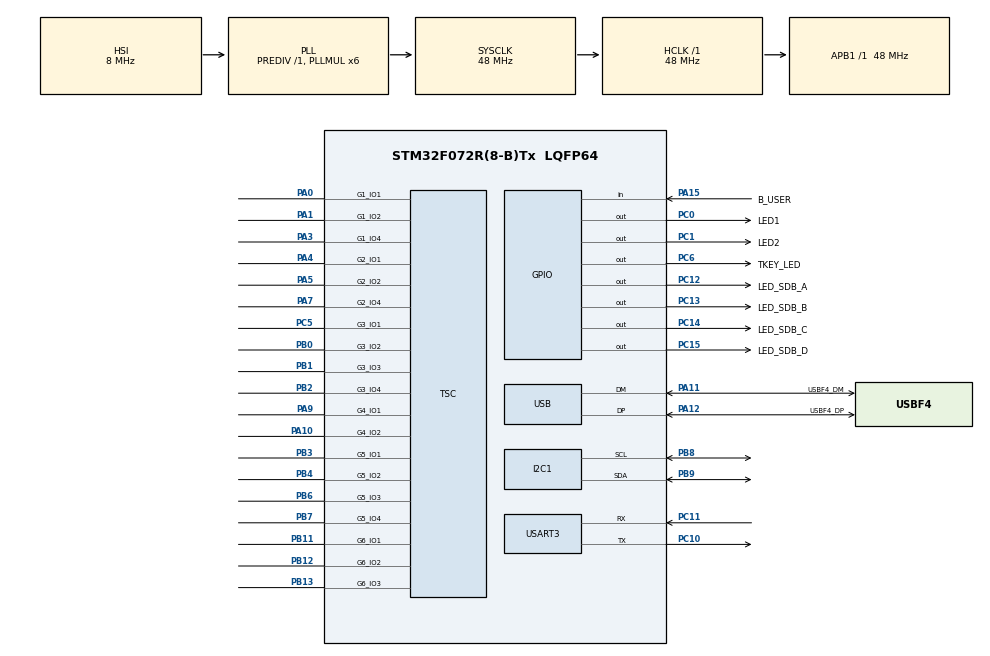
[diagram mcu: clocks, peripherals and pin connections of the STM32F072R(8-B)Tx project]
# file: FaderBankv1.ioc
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Mcu.Family=STM32F0
Mcu.Name=STM32F072R(8-B)Tx
Mcu.Package=LQFP64
NVIC.USB_IRQn=true\:0\:0\:false\:false\:true\:false\:true\:true
PA0.Mode=G1_IO1-Channel
PA0.Signal=TSC_G1_IO1
PA1.Mode=G1_IO2-Channel
PA1.Signal=TSC_G1_IO2
PA10.Mode=G4_IO2-Channel
PA10.Signal=TSC_G4_IO2
PA11.GPIO_Label=USBF4_DM
PA11.Mode=Device
PA11.Signal=USB_DM
PA12.GPIO_Label=USBF4_DP
PA12.Mode=Device
PA12.Signal=USB_DP
PA13.GPIO_Label=SWDIO
PA13.Mode=Serial_Wire
PA13.Signal=SYS_SWDIO
PA14.GPIO_Label=SWCLK
PA14.Mode=Serial_Wire
PA14.Signal=SYS_SWCLK
PA15.GPIO_Label=B_USER
PA15.GPIO_PuPd=GPIO_PULLDOWN
PA15.Signal=GPIO_Input
PA3.Mode=G1_IO4-Sampling
PA3.Signal=TSC_G1_IO4
PA4.Mode=G2_IO1-Channel
PA4.Signal=TSC_G2_IO1
PA5.Mode=G2_IO2-Channel
PA5.Signal=TSC_G2_IO2
PA7.Mode=G2_IO4-Sampling
PA7.Signal=TSC_G2_IO4
PA9.Mode=G4_IO1-Sampling
PA9.Signal=TSC_G4_IO1
PB0.Mode=G3_IO2-Channel
PB0.Signal=TSC_G3_IO2
PB1.Mode=G3_IO3-Channel
PB1.Signal=TSC_G3_IO3
PB11.Mode=G6_IO1-Sampling
PB11.Signal=TSC_G6_IO1
PB12.Mode=G6_IO2-Channel
PB12.Signal=TSC_G6_IO2
PB13.Mode=G6_IO3-Channel
PB13.Signal=TSC_G6_IO3
PB2.Mode=G3_IO4-Sampling
PB2.Signal=TSC_G3_IO4
PB3.Mode=G5_IO1-Sampling
PB3.Signal=TSC_G5_IO1
PB4.Mode=G5_IO2-Channel
PB4.Signal=TSC_G5_IO2
PB6.Mode=G5_IO3-Channel
PB6.Signal=TSC_G5_IO3
PB7.Mode=G5_IO4-Channel
PB7.Signal=TSC_G5_IO4
PB8.Mode=I2C
PB8.Signal=I2C1_SCL
PB9.Mode=I2C
PB9.Signal=I2C1_SDA
PC0.GPIO_Label=LED1
PC0.Signal=GPIO_Output
PC1.GPIO_Label=LED2
PC1.Signal=GPIO_Output
PC10.Mode=Asynchronous
PC10.Signal=USART3_TX
PC11.Mode=Asynchronous
PC11.Signal=USART3_RX
PC12.GPIO_Label=LED_SDB_A
PC12.PinState=GPIO_PIN_SET
PC12.Signal=GPIO_Output
PC13.GPIO_Label=LED_SDB_B
PC13.PinState=GPIO_PIN_SET
PC13.Signal=GPIO_Output
PC14-OSC32_IN.GPIO_Label=LED_SDB_C
PC14-OSC32_IN.PinState=GPIO_PIN_SET
PC14-OSC32_IN.Signal=GPIO_Output
PC15-OSC32_OUT.GPIO_Label=LED_SDB_D
PC15-OSC32_OUT.PinState=GPIO_PIN_SET
PC15-OSC32_OUT.Signal=GPIO_Output
PC5.Mode=G3_IO1-Channel
PC5.Signal=TSC_G3_IO1
PC6.GPIO_Label=TKEY_LED
PC6.Signal=GPIO_Output
ProjectManager.HeapSize=0x200
ProjectManager.StackSize=0x400
ProjectManager.TargetToolchain=MDK-ARM V5
RCC.AHBFreq_Value=48000000
RCC.APB1Freq_Value=48000000
RCC.APB1TimFreq_Value=48000000
RCC.HCLKFreq_Value=48000000
RCC.PLLMUL=RCC_PLL_MUL6
RCC.SYSCLKFreq_VALUE=48000000
RCC.SYSCLKSource=RCC_SYSCLKSOURCE_PLLCLK
TOUCHSENSING.IO_3CH_LIN_H_NBR1_CH1=G1_IO1
TOUCHSENSING.IO_3CH_LIN_H_NBR1_CH1-TouchSensing_Enabled=G1_IO1
TOUCHSENSING.IO_3CH_LIN_H_NBR1_CH2=G2_IO1
TOUCHSENSING.IO_3CH_LIN_H_NBR1_CH3=G3_IO1
TOUCHSENSING.IO_3CH_LIN_H_NBR2_CH1=G1_IO2
TOUCHSENSING.IO_3CH_LIN_H_NBR2_CH2=G2_IO2
TOUCHSENSING.IO_3CH_LIN_H_NBR2_CH3=G3_IO2
TOUCHSENSING.IO_3CH_LIN_H_NBR3_CH1=G4_IO2
TOUCHSENSING.IO_3CH_LIN_H_NBR3_CH2=G5_IO2
TOUCHSENSING.IO_3CH_LIN_H_NBR3_CH3=G6_IO2
TOUCHSENSING.IO_3CH_LIN_H_NBR4_CH1=G3_IO3
TOUCHSENSING.IO_3CH_LIN_H_NBR4_CH2=G5_IO3
TOUCHSENSING.IO_3CH_LIN_H_NBR4_CH3=G6_IO3
TOUCHSENSING.IO_TOUCHKEY1=G5_IO4
TOUCHSENSING.IO_TOUCHKEY1-TouchSensing_Enabled=G6_IO3
TOUCHSENSING.TSLPRM_SENSORS_DATAS=TSLPRM_USE_3CH_LIN_H_NBR1 1 3 TSLPRM_USE_3CH_LIN_H_NBR2 1 3 TSLPRM_USE_3CH_LIN_H_NBR3 1 3 TSLPRM_USE_3CH_LIN_H_NBR4 1 3 TSLPRM_TOTAL_TOUCHKEYS 1 1 
TOUCHSENSING.TSLPRM_TOTAL_TOUCHKEYS=1
TOUCHSENSING.TSLPRM_USE_3CH_LIN_H=1
TOUCHSENSING.TSLPRM_USE_3CH_LIN_H_NBR=4
TSC.ChannelIOs-G1_IO1=TSC_GROUP1_IO1
TSC.ChannelIOs-G1_IO2=TSC_GROUP1_IO2
TSC.ChannelIOs-G2_IO1=TSC_GROUP2_IO1
TSC.ChannelIOs-G2_IO2=TSC_GROUP2_IO2
TSC.ChannelIOs-G3_IO1=TSC_GROUP3_IO1
TSC.ChannelIOs-G3_IO2=TSC_GROUP3_IO2
TSC.ChannelIOs-G3_IO3=TSC_GROUP3_IO3
TSC.ChannelIOs-G4_IO2=TSC_GROUP4_IO2
TSC.ChannelIOs-G5_IO2=TSC_GROUP5_IO2
TSC.ChannelIOs-G5_IO3=TSC_GROUP5_IO3
TSC.ChannelIOs-G5_IO4=TSC_GROUP5_IO4
TSC.ChannelIOs-G6_IO2=TSC_GROUP6_IO2
TSC.ChannelIOs-G6_IO3=TSC_GROUP6_IO3
TSC.SamplingIOs-G1_IO4=TSC_GROUP1_IO4
TSC.SamplingIOs-G2_IO4=TSC_GROUP2_IO4
TSC.SamplingIOs-G3_IO4=TSC_GROUP3_IO4
TSC.SamplingIOs-G4_IO1=TSC_GROUP4_IO1
TSC.SamplingIOs-G5_IO1=TSC_GROUP5_IO1
TSC.SamplingIOs-G6_IO1=TSC_GROUP6_IO1
USART3.VirtualMode-Asynchronous=VM_ASYNC
USB.phy_itface=PCD_PHY_EMBEDDED
USB.speed=PCD_SPEED_FULL
USB_DEVICE.CLASS_NAME_FS=AUDIO
USB_DEVICE.MANUFACTURER_STRING=Alef Audio
USB_DEVICE.PID_AUDIO_FS=0xFFFF
USB_DEVICE.PRODUCT_STRING_AUDIO_FS=Fader Bank
USB_DEVICE.VID=0xFFFF
USB_DEVICE.VirtualMode=Audio
USB_DEVICE.VirtualModeFS=Audio_FS
VP_TOUCHSENSING_VS_TOUCHSENSING.Mode=TouchSensing_Enabled
VP_USB_DEVICE_VS_USB_DEVICE_AUDIO_FS.Mode=AUDIO_FS
board=STM32F072B-DISCO

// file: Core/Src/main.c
/* USER CODE BEGIN Header */
/**
  ******************************************************************************
  * @file           : main.c
  * @brief          : Main program body
  ******************************************************************************
  * @attention
  *
  * Copyright (c) 2022 STMicroelectronics.
  * All rights reserved.
  *
  * This software is licensed under terms that can be found in the LICENSE file
  * in the root directory of this software component.
  * If no LICENSE file comes with this software, it is provided AS-IS.
  *
  ******************************************************************************
  */
/* USER CODE END Header */
#include "main.h"
#include "touchsensing.h"
#include "usb_device.h"

/* USER CODE BEGIN Includes */
#include <stdio.h>
#include "fader_bank.h"
#include "usbd_midi_if.h"
/* USER CODE END Includes */

/* USER CODE BEGIN PD */
#define SBUF_SIZE (128)
#define I2CBUF_SIZE (256)
#define DETAILED_TSC_DATA (1)

#define SERIAL_HANDLE (&huart3)

/* USER CODE END PD */

/* USER CODE BEGIN PM */
#define LINEAR_DETECT(chan) ((MyLinRots[chan].p_Data->StateId == TSL_STATEID_DETECT) || \
                       (MyLinRots[chan].p_Data->StateId == TSL_STATEID_DEB_RELEASE_DETECT))
#define LINEAR_POSITION(chan) (MyLinRots[chan].p_Data->Position)

#define LINEAR_DIRECTION(chan) (MyLinRots[chan].p_Data->Direction)

#define LINEAR_CHANGE(chan) (MyLinRots[chan].p_Data->Change)

#define KEY_DETECT(chan) ((MyTKeys[chan].p_Data->StateId == TSL_STATEID_DETECT) || \
                       (MyTKeys[chan].p_Data->StateId == TSL_STATEID_DEB_RELEASE_DETECT))

#define KEY_CHANGE(chan) ((MyTKeys[chan].p_Data->Change))

/* USER CODE END PM */

 I2C_HandleTypeDef hi2c1;

TSC_HandleTypeDef htsc;

UART_HandleTypeDef huart3;

/* USER CODE BEGIN PV */
char sbuf[SBUF_SIZE];
uint8_t pos;
int size;
extern uint8_t midi_control_pending;
extern MIDI_Control_T last_midi_control;

#ifdef RELATIVE_FADER_MOVEMENT
uint8_t set_initial_fader_position[] = {0, 0, 0, 0};
#endif

//uint8_t i2cbuf[I2CBUF_SIZE];
/* USER CODE END PV */

void SystemClock_Config(void);
static void MX_GPIO_Init(void);
static void MX_I2C1_Init(void);
static void MX_TSC_Init(void);
static void MX_USART3_UART_Init(void);
/* USER CODE BEGIN PFP */

static void PrintLinRotDetails(int chan);
/* USER CODE END PFP */

/* USER CODE BEGIN 0 */
static void PrintLinRotDetails(int chan) {
		size = sprintf(sbuf, "slider %d: %d\r\n", chan, MyLinRots[chan].p_Data->Position);
		HAL_UART_Transmit(SERIAL_HANDLE, (uint8_t *)sbuf, size, 5000);
		size = sprintf(sbuf, "\tdelta 1: %d\r\n", MyLinRots[chan].p_ChD[0].Delta);
		HAL_UART_Transmit(SERIAL_HANDLE, (uint8_t *)sbuf, size, 5000);
		size = sprintf(sbuf, "\tdelta 2: %d\r\n", MyLinRots[chan].p_ChD[1].Delta);
		HAL_UART_Transmit(SERIAL_HANDLE, (uint8_t *)sbuf, size, 5000);
		size = sprintf(sbuf, "\tdelta 3: %d\r\n", MyLinRots[chan].p_ChD[2].Delta);
		HAL_UART_Transmit(SERIAL_HANDLE, (uint8_t *)sbuf, size, 5000);
}

/* USER CODE END 0 */

int main(void)
{
  /* USER CODE BEGIN 1 */
  tsl_user_status_t tsl_status;

  /* USER CODE END 1 */

  /* MCU Configuration--------------------------------------------------------*/

  /* Reset of all peripherals, Initializes the Flash interface and the Systick. */
  HAL_Init();

  /* Configure the system clock */
  SystemClock_Config();

  /* Initialize all configured peripherals */
  MX_GPIO_Init();
  MX_I2C1_Init();
  MX_TSC_Init();
  MX_USART3_UART_Init();
  MX_TOUCHSENSING_Init();
  MX_USB_DEVICE_Init();
  /* USER CODE BEGIN 2 */

	size = sprintf(sbuf, "Hello World!\r\n");
	HAL_UART_Transmit(&huart3, (uint8_t *)sbuf, size, 5000);
//	InitLedDrivers();
	InitFaderBank(&hi2c1);

	// Wait for USB to connect
	HAL_Delay(1000);
  /* USER CODE END 2 */

  /* Infinite loop */
  /* USER CODE BEGIN WHILE */

	uint8_t tkey_status = 0;
	HAL_GPIO_WritePin(GPIOC, TKEY_LED_Pin, GPIO_PIN_RESET);

  while (1)
  {
		if (midi_control_pending) {
			SetFaderTrack(last_midi_control.controller_number, last_midi_control.controller_value);
			midi_control_pending = 0;
		}

		tsl_status = tsl_user_Exec();
		if (tsl_status != TSL_USER_STATUS_BUSY)
		{
			for (int chan = 0; chan < TSLPRM_TOTAL_LINROTS; chan++) {
				if (LINEAR_DETECT(chan)) {
					HAL_GPIO_WritePin(GPIOC, LED2_Pin, GPIO_PIN_SET);
					pos = LINEAR_POSITION(chan);

#ifdef RELATIVE_FADER_MOVEMENT
					if (set_initial_fader_position[chan]) {
						SetFaderTrackStartPos(chan, pos);
						set_initial_fader_position[chan] = 0;
					}

					if (LINEAR_CHANGE(chan)) {
						size = sprintf(sbuf, "\tSTATE CHANGED ==============\r\n");
						HAL_UART_Transmit(SERIAL_HANDLE, (uint8_t *)sbuf, size, 5000);

						set_initial_fader_position[chan] = 1;
					}

					int c = AdjustFaderTrack(chan, pos);
					size = sprintf(sbuf, "\tchange: %d\r\n", c);
					HAL_UART_Transmit(SERIAL_HANDLE, (uint8_t *)sbuf, size, 5000);

#else
					SetFaderTrack(chan, pos);

#endif

					MIDI_cc_update(0, chan, FADER_POSITION(chan));

					if (DETAILED_TSC_DATA) {
						PrintLinRotDetails(chan);
					} else {
						size = sprintf(sbuf, "slider %d: %d\r\n", chan, FADER_POSITION(chan));
						HAL_UART_Transmit(SERIAL_HANDLE, (uint8_t *)sbuf, size, 5000);
					}

				} else {
					HAL_GPIO_WritePin(GPIOC, LED2_Pin, GPIO_PIN_RESET);
				}
			}

			if (KEY_CHANGE(0)) {
				if (KEY_DETECT(0)) {
					tkey_status = !tkey_status;
					HAL_GPIO_TogglePin(GPIOC, TKEY_LED_Pin);
				}
			}

//			if (KEY_DETECT(0)) {
//				if (tkey_status) {
//					// do nothing
//				} else {
//					tkey_status = 1;
//					HAL_GPIO_WritePin(GPIOC, TKEY_LED_Pin, GPIO_PIN_SET);
//				}
//			} else {
//				if (tkey_status) {
//					tkey_status = 0;
//					HAL_GPIO_WritePin(GPIOC, TKEY_LED_Pin, GPIO_PIN_RESET);
//				}
//			}

		}
    /* USER CODE END WHILE */

  }
}

void SystemClock_Config(void)
{
  RCC_OscInitTypeDef RCC_OscInitStruct = {0};
  RCC_ClkInitTypeDef RCC_ClkInitStruct = {0};
  RCC_PeriphCLKInitTypeDef PeriphClkInit = {0};

  /** Initializes the RCC Oscillators according to the specified parameters
  * in the RCC_OscInitTypeDef structure.
  */
  RCC_OscInitStruct.OscillatorType = RCC_OSCILLATORTYPE_HSI|RCC_OSCILLATORTYPE_HSI48;
  RCC_OscInitStruct.HSIState = RCC_HSI_ON;
  RCC_OscInitStruct.HSI48State = RCC_HSI48_ON;
  RCC_OscInitStruct.HSICalibrationValue = RCC_HSICALIBRATION_DEFAULT;
  RCC_OscInitStruct.PLL.PLLState = RCC_PLL_ON;
  RCC_OscInitStruct.PLL.PLLSource = RCC_PLLSOURCE_HSI;
  RCC_OscInitStruct.PLL.PLLMUL = RCC_PLL_MUL6;
  RCC_OscInitStruct.PLL.PREDIV = RCC_PREDIV_DIV1;
  if (HAL_RCC_OscConfig(&RCC_OscInitStruct) != HAL_OK)
  {
    Error_Handler();
  }

  /** Initializes the CPU, AHB and APB buses clocks
  */
  RCC_ClkInitStruct.ClockType = RCC_CLOCKTYPE_HCLK|RCC_CLOCKTYPE_SYSCLK
                              |RCC_CLOCKTYPE_PCLK1;
  RCC_ClkInitStruct.SYSCLKSource = RCC_SYSCLKSOURCE_PLLCLK;
  RCC_ClkInitStruct.AHBCLKDivider = RCC_SYSCLK_DIV1;
  RCC_ClkInitStruct.APB1CLKDivider = RCC_HCLK_DIV1;

  if (HAL_RCC_ClockConfig(&RCC_ClkInitStruct, FLASH_LATENCY_1) != HAL_OK)
  {
    Error_Handler();
  }
  PeriphClkInit.PeriphClockSelection = RCC_PERIPHCLK_USB|RCC_PERIPHCLK_I2C1;
  PeriphClkInit.I2c1ClockSelection = RCC_I2C1CLKSOURCE_HSI;
  PeriphClkInit.UsbClockSelection = RCC_USBCLKSOURCE_HSI48;

  if (HAL_RCCEx_PeriphCLKConfig(&PeriphClkInit) != HAL_OK)
  {
    Error_Handler();
  }
}

static void MX_I2C1_Init(void)
{

  hi2c1.Instance = I2C1;
  hi2c1.Init.Timing = 0x2000090E;
  hi2c1.Init.OwnAddress1 = 0;
  hi2c1.Init.AddressingMode = I2C_ADDRESSINGMODE_7BIT;
  hi2c1.Init.DualAddressMode = I2C_DUALADDRESS_DISABLE;
  hi2c1.Init.OwnAddress2 = 0;
  hi2c1.Init.OwnAddress2Masks = I2C_OA2_NOMASK;
  hi2c1.Init.GeneralCallMode = I2C_GENERALCALL_DISABLE;
  hi2c1.Init.NoStretchMode = I2C_NOSTRETCH_DISABLE;
  if (HAL_I2C_Init(&hi2c1) != HAL_OK)
  {
    Error_Handler();
  }

  /** Configure Analogue filter
  */
  if (HAL_I2CEx_ConfigAnalogFilter(&hi2c1, I2C_ANALOGFILTER_ENABLE) != HAL_OK)
  {
    Error_Handler();
  }

  /** Configure Digital filter
  */
  if (HAL_I2CEx_ConfigDigitalFilter(&hi2c1, 0) != HAL_OK)
  {
    Error_Handler();
  }

}

static void MX_TSC_Init(void)
{

  /** Configure the TSC peripheral
  */
  htsc.Instance = TSC;
  htsc.Init.CTPulseHighLength = TSC_CTPH_2CYCLES;
  htsc.Init.CTPulseLowLength = TSC_CTPL_2CYCLES;
  htsc.Init.SpreadSpectrum = DISABLE;
  htsc.Init.SpreadSpectrumDeviation = 1;
  htsc.Init.SpreadSpectrumPrescaler = TSC_SS_PRESC_DIV1;
  htsc.Init.PulseGeneratorPrescaler = TSC_PG_PRESC_DIV4;
  htsc.Init.MaxCountValue = TSC_MCV_8191;
  htsc.Init.IODefaultMode = TSC_IODEF_OUT_PP_LOW;
  htsc.Init.SynchroPinPolarity = TSC_SYNC_POLARITY_FALLING;
  htsc.Init.AcquisitionMode = TSC_ACQ_MODE_NORMAL;
  htsc.Init.MaxCountInterrupt = DISABLE;
  htsc.Init.ChannelIOs = TSC_GROUP1_IO1|TSC_GROUP1_IO2|TSC_GROUP2_IO1|TSC_GROUP2_IO2
                    |TSC_GROUP3_IO1|TSC_GROUP3_IO2|TSC_GROUP3_IO3|TSC_GROUP4_IO2
                    |TSC_GROUP5_IO2|TSC_GROUP5_IO3|TSC_GROUP5_IO4|TSC_GROUP6_IO2
                    |TSC_GROUP6_IO3;
  htsc.Init.ShieldIOs = 0;
  htsc.Init.SamplingIOs = TSC_GROUP1_IO4|TSC_GROUP2_IO4|TSC_GROUP3_IO4|TSC_GROUP4_IO1
                    |TSC_GROUP5_IO1|TSC_GROUP6_IO1;
  if (HAL_TSC_Init(&htsc) != HAL_OK)
  {
    Error_Handler();
  }

}

static void MX_USART3_UART_Init(void)
{

  huart3.Instance = USART3;
  huart3.Init.BaudRate = 38400;
  huart3.Init.WordLength = UART_WORDLENGTH_8B;
  huart3.Init.StopBits = UART_STOPBITS_1;
  huart3.Init.Parity = UART_PARITY_NONE;
  huart3.Init.Mode = UART_MODE_TX_RX;
  huart3.Init.HwFlowCtl = UART_HWCONTROL_NONE;
  huart3.Init.OverSampling = UART_OVERSAMPLING_16;
  huart3.Init.OneBitSampling = UART_ONE_BIT_SAMPLE_DISABLE;
  huart3.AdvancedInit.AdvFeatureInit = UART_ADVFEATURE_NO_INIT;
  if (HAL_UART_Init(&huart3) != HAL_OK)
  {
    Error_Handler();
  }

}

static void MX_GPIO_Init(void)
{
  GPIO_InitTypeDef GPIO_InitStruct = {0};

  /* GPIO Ports Clock Enable */
  __HAL_RCC_GPIOC_CLK_ENABLE();
  __HAL_RCC_GPIOA_CLK_ENABLE();
  __HAL_RCC_GPIOB_CLK_ENABLE();

  /*Configure GPIO pin Output Level */
  HAL_GPIO_WritePin(GPIOC, LED_SDB_B_Pin|LED_SDB_C_Pin|LED_SDB_D_Pin|LED_SDB_A_Pin, GPIO_PIN_SET);

  /*Configure GPIO pin Output Level */
  HAL_GPIO_WritePin(GPIOC, LED1_Pin|LED2_Pin|TKEY_LED_Pin, GPIO_PIN_RESET);

  /*Configure GPIO pins : LED_SDB_B_Pin LED_SDB_C_Pin LED_SDB_D_Pin LED1_Pin
                           LED2_Pin TKEY_LED_Pin LED_SDB_A_Pin */
  GPIO_InitStruct.Pin = LED_SDB_B_Pin|LED_SDB_C_Pin|LED_SDB_D_Pin|LED1_Pin
                          |LED2_Pin|TKEY_LED_Pin|LED_SDB_A_Pin;
  GPIO_InitStruct.Mode = GPIO_MODE_OUTPUT_PP;
  GPIO_InitStruct.Pull = GPIO_NOPULL;
  GPIO_InitStruct.Speed = GPIO_SPEED_FREQ_LOW;
  HAL_GPIO_Init(GPIOC, &GPIO_InitStruct);

  /*Configure GPIO pin : B_USER_Pin */
  GPIO_InitStruct.Pin = B_USER_Pin;
  GPIO_InitStruct.Mode = GPIO_MODE_INPUT;
  GPIO_InitStruct.Pull = GPIO_PULLDOWN;
  HAL_GPIO_Init(B_USER_GPIO_Port, &GPIO_InitStruct);

}

void Error_Handler(void)
{
  __disable_irq();
  while (1)
  {
  }
}
